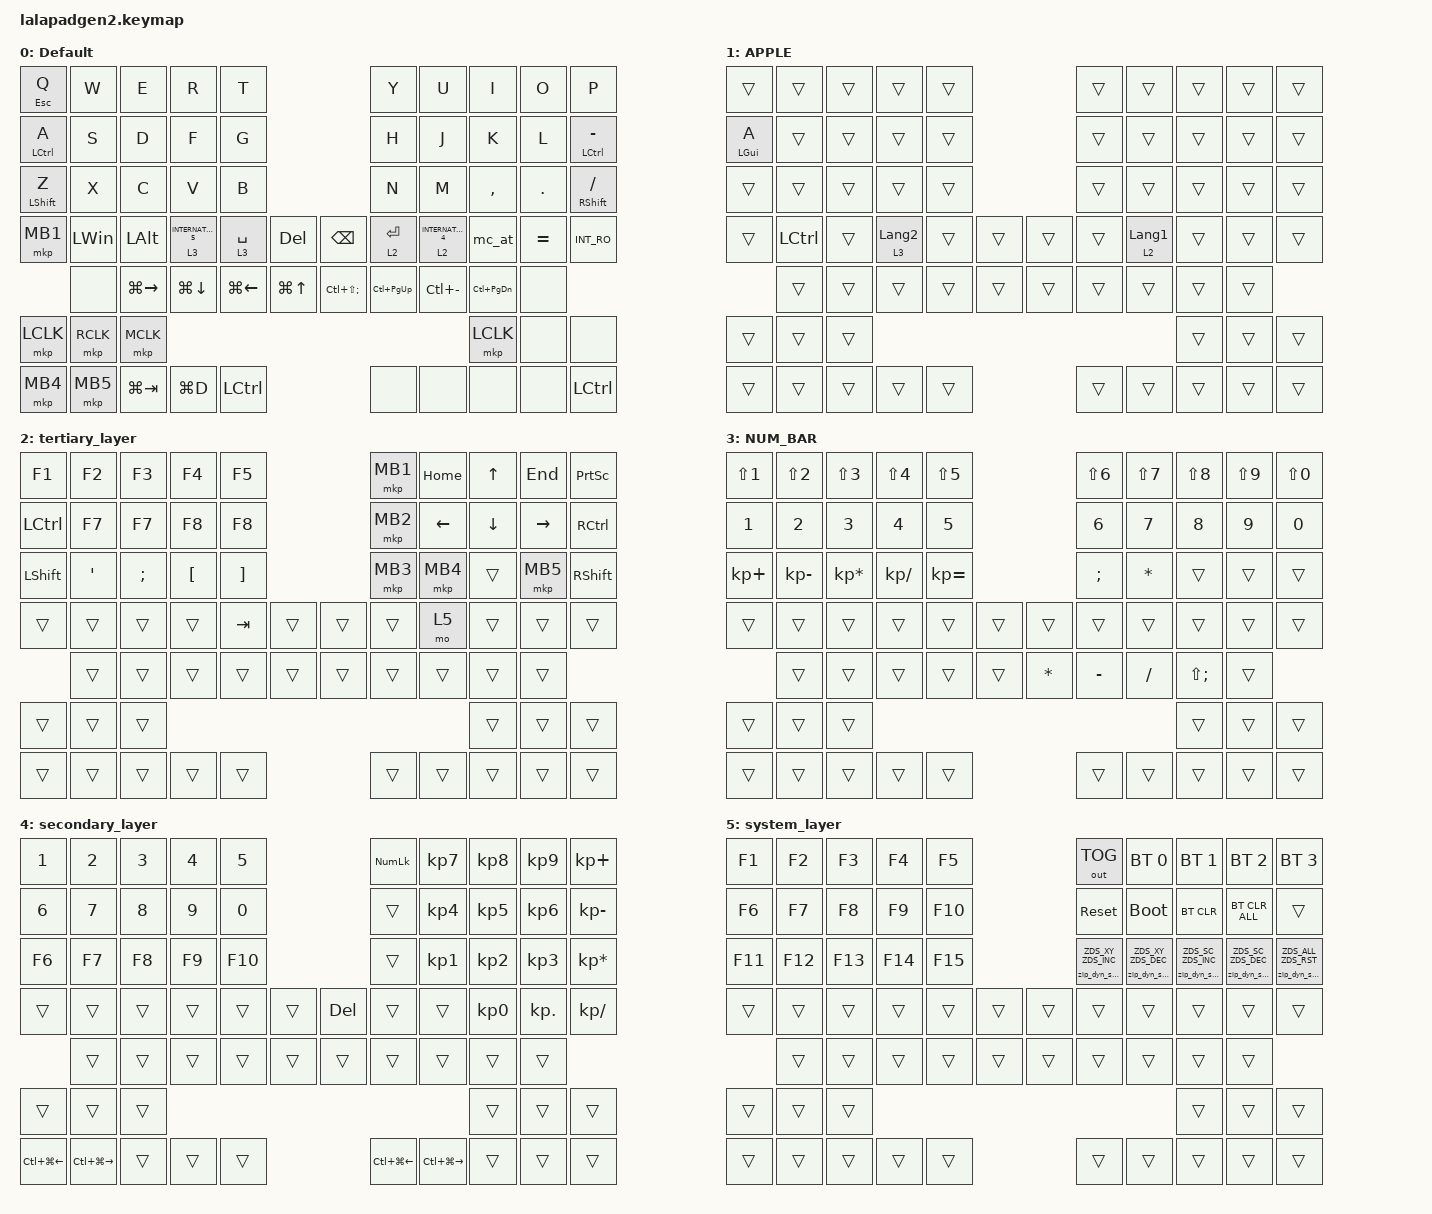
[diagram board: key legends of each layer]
#include <input/processors.dtsi>
#include <dt-bindings/zmk/zip_dynamic_scale.h>
#include <behaviors.dtsi>
#include <dt-bindings/zmk/bt.h>
#include <dt-bindings/zmk/keys.h>
#include <dt-bindings/zmk/outputs.h>
#include <dt-bindings/zmk/pointing.h>

#define DEFAULT_LAYER   0
#define SECONDARY_LAYER 1
#define TERTIARY_LAYER  2
#define SYSTEM_LAYER    3

&mt {
    quick-tap-ms = <220>;
    tapping-term-ms = <250>;
    require-prior-idle-ms = <50>;
};

&lt {
    quick-tap-ms = <200>;
    flavor = "hold-preferred";
    tapping-term-ms = <220>;
    require-prior-idle-ms = <50>;
};

/ {
    behaviors {
        zip_dyn_scale: zip_dyn_scale {
            compatible = "zmk,behavior-zip-dynamic-scale";
            #binding-cells = <2>;
        };

        zip_dyn_scale_set: zip_dyn_scale_set {
            compatible = "zmk,behavior-zip-dynamic-scale-set";
            #binding-cells = <2>;
        };

        mt2: mod_tap2 {
            compatible = "zmk,behavior-hold-tap";
            #binding-cells = <2>;
            flavor = "tap-preferred";
            tapping-term-ms = <200>;
            quick-tap-ms = <200>;
            require-prior-idle-ms = <125>;
            bindings = <&kp>, <&kp>;
        };

        tap_dance_layer_1and2: tap_dance_layer_1and2 {
            compatible = "zmk,behavior-tap-dance";
            label = "td_mo12";
            #binding-cells = <0>;
            bindings = <&mo 2>, <&mo 5>;
        };

        mt_long_press: mt_long_press {
            compatible = "zmk,behavior-hold-tap";
            label = "MT_LONG_PRESS";
            bindings = <&kp>, <&kp>;

            #binding-cells = <2>;
            tapping-term-ms = <300>;
            require-prior-idle-ms = <120>;
            flavor = "tap-preferred";
            retro-tap;
        };
    };

    combos {
        compatible = "zmk,combos";

        Left_Parenthesis {
            bindings = <&kp LS(NUMBER_8)>;
            key-positions = <5 6>;
        };

        Right_Parenthesis {
            bindings = <&kp LS(NUMBER_9)>;
            key-positions = <6 7>;
        };

        Left_Bracket {
            bindings = <&kp RIGHT_BRACKET>;
            key-positions = <15 16>;
        };

        Right_Bracket {
            bindings = <&kp BACKSLASH>;
            key-positions = <16 17>;
        };

        Left_Brace {
            bindings = <&kp RIGHT_BRACE>;
            key-positions = <25 26>;
        };

        Right_Brace {
            bindings = <&kp LS(BACKSLASH)>;
            key-positions = <26 27>;
        };

        copy {
            bindings = <&kp LC(C)>;
            key-positions = <12 11>;
        };

        cut {
            bindings = <&kp LC(X)>;
            key-positions = <23 22>;
        };

        paste {
            bindings = <&kp LC(V)>;
            key-positions = <13 12>;
        };

        undo {
            bindings = <&kp LC(Z)>;
            key-positions = <21 22>;
        };

        underscore {
            bindings = <&kp LS(INTERNATIONAL_1)>;
            key-positions = <29 28>;
        };

        semicolon {
            bindings = <&kp SEMI>;
            key-positions = <17 18>;
        };

        colon {
            bindings = <&kp LEFT_BRACKET>;
            key-positions = <18 19>;
        };
    };

    macros {
        mc_at: mc_at {
            compatible = "zmk,behavior-macro";
            #binding-cells = <0>;
            bindings = <&kp INT_MUHENKAN &kp LEFT_BRACKET>, <&macro_press>;

            label = "mc_at";
        };
    };

    keymap {
        compatible = "zmk,keymap";

        DEFAULT_LAYER {
            display-name = "Default";
            bindings = <
&mt ESCAPE Q                 &kp W      &kp E          &kp R                  &kp T                                            &kp Y            &kp U                  &kp I              &kp O       &kp P
&mt_long_press LCTRL A       &kp S      &kp D          &kp F                  &kp G                                            &kp H            &kp J                  &kp K              &kp L       &mt_long_press LCTRL MINUS
&mt_long_press LEFT_SHIFT Z  &kp X      &kp C          &kp V                  &kp B                                            &kp N            &kp M                  &kp COMMA          &kp PERIOD  &mt RIGHT_SHIFT SLASH
&mkp MB1                     &kp LWIN   &kp LEFT_ALT   &lt 3 INTERNATIONAL_5  &lt 3 SPACE   &kp DEL     &kp BACKSPACE          &lt 2 ENTER      &lt 2 INTERNATIONAL_4  &mc_at             &kp EQUAL   &kp INT_RO
                             &none      &kp LG(RIGHT)  &kp LG(DOWN)           &kp LG(LEFT)  &kp LG(UP)  &kp LC(LS(SEMICOLON))  &kp LC(PAGE_UP)  &kp LC(MINUS)          &kp LC(PAGE_DOWN)  &none
&mkp LCLK                    &mkp RCLK  &mkp MCLK                                                                                                                      &mkp LCLK          &none       &none
&mkp MB4                     &mkp MB5   &kp LG(TAB)    &kp LG(D)              &kp LCTRL                                        &none            &none                  &none              &none       &kp LCTRL
            >;
        };

        APPLE {
            bindings = <
&trans                     &trans     &trans  &trans            &trans                  &trans  &trans            &trans  &trans  &trans
&mt_long_press LEFT_GUI A  &trans     &trans  &trans            &trans                  &trans  &trans            &trans  &trans  &trans
&trans                     &trans     &trans  &trans            &trans                  &trans  &trans            &trans  &trans  &trans
&trans                     &kp LCTRL  &trans  &lt 3 LANGUAGE_2  &trans  &trans  &trans  &trans  &lt 2 LANGUAGE_1  &trans  &trans  &trans
                           &trans     &trans  &trans            &trans  &trans  &trans  &trans  &trans            &trans  &trans
&trans                     &trans     &trans                                                                      &trans  &trans  &trans
&trans                     &trans     &trans  &trans            &trans                  &trans  &trans            &trans  &trans  &trans
            >;
        };

        ARROW_LAYER {
            display-name = "tertiary_layer";
            bindings = <
&kp F1          &kp F2   &kp F3    &kp F4            &kp F5                             &mkp MB1  &kp HOME  &kp UP_ARROW    &kp END    &kp PRINTSCREEN
&kp LCTRL       &kp F7   &kp F7    &kp F8            &kp F8                             &mkp MB2  &kp LEFT  &kp DOWN_ARROW  &kp RIGHT  &kp RCTRL
&kp LEFT_SHIFT  &kp SQT  &kp SEMI  &kp LEFT_BRACKET  &kp RIGHT_BRACKET                  &mkp MB3  &mkp MB4  &trans          &mkp MB5   &kp RIGHT_SHIFT
&trans          &trans   &trans    &trans            &kp TAB            &trans  &trans  &trans    &mo 5     &trans          &trans     &trans
                &trans   &trans    &trans            &trans             &trans  &trans  &trans    &trans    &trans          &trans
&trans          &trans   &trans                                                                             &trans          &trans     &trans
&trans          &trans   &trans    &trans            &trans                             &trans    &trans    &trans          &trans     &trans
            >;
        };

        NUM_BAR {
            bindings = <
&kp LS(N1)   &kp LS(N2)       &kp LS(N3)       &kp LS(N4)     &kp LS(N5)                       &kp LS(N6)     &kp LS(N7)  &kp LS(N8)    &kp LS(N9)  &kp LS(N0)
&kp N1       &kp N2           &kp N3           &kp N4         &kp N5                           &kp N6         &kp N7      &kp N8        &kp N9      &kp N0
&kp KP_PLUS  &kp KP_SUBTRACT  &kp KP_ASTERISK  &kp KP_DIVIDE  &kp KP_EQUAL                     &kp SEMICOLON  &kp ASTRK   &trans        &trans      &trans
&trans       &trans           &trans           &trans         &trans        &trans  &trans     &trans         &trans      &trans        &trans      &trans
             &trans           &trans           &trans         &trans        &trans  &kp ASTRK  &kp MINUS      &kp SLASH   &kp LS(SEMI)  &trans
&trans       &trans           &trans                                                                                      &trans        &trans      &trans
&trans       &trans           &trans           &trans         &trans                           &trans         &trans      &trans        &trans      &trans
            >;
        };

        SECONDARY_LAYER {
            display-name = "secondary_layer";
            bindings = <
&kp NUMBER_1      &kp NUMBER_2       &kp NUMBER_3  &kp NUMBER_4  &kp N5                    &kp KP_NUMLOCK    &kp KP_NUMBER_7    &kp KP_NUMBER_8  &kp KP_NUMBER_9  &kp KP_PLUS
&kp NUMBER_6      &kp N7             &kp N8        &kp N9        &kp N0                    &trans            &kp KP_NUMBER_4    &kp KP_NUMBER_5  &kp KP_NUMBER_6  &kp KP_MINUS
&kp F6            &kp F7             &kp F8        &kp F9        &kp F10                   &trans            &kp KP_NUMBER_1    &kp KP_NUMBER_2  &kp KP_NUMBER_3  &kp KP_ASTERISK
&trans            &trans             &trans        &trans        &trans   &trans  &kp DEL  &trans            &trans             &kp KP_NUMBER_0  &kp KP_DOT       &kp KP_DIVIDE
                  &trans             &trans        &trans        &trans   &trans  &trans   &trans            &trans             &trans           &trans
&trans            &trans             &trans                                                                                     &trans           &trans           &trans
&kp LC(LG(LEFT))  &kp LC(LG(RIGHT))  &trans        &trans        &trans                    &kp LC(LG(LEFT))  &kp LC(LG(RIGHT))  &trans           &trans           &trans
            >;
        };

        SYSTEM_LAYER {
            display-name = "system_layer";
            bindings = <
&kp F1   &kp F2   &kp F3   &kp F4   &kp F5                   &out OUT_TOG                   &bt BT_SEL 0                   &bt BT_SEL 1                   &bt BT_SEL 2                   &bt BT_SEL 3
&kp F6   &kp F7   &kp F8   &kp F9   &kp F10                  &sys_reset                     &bootloader                    &bt BT_CLR                     &bt BT_CLR_ALL                 &trans
&kp F11  &kp F12  &kp F13  &kp F14  &kp F15                  &zip_dyn_scale ZDS_XY ZDS_INC  &zip_dyn_scale ZDS_XY ZDS_DEC  &zip_dyn_scale ZDS_SC ZDS_INC  &zip_dyn_scale ZDS_SC ZDS_DEC  &zip_dyn_scale ZDS_ALL ZDS_RST
&trans   &trans   &trans   &trans   &trans   &trans  &trans  &trans                         &trans                         &trans                         &trans                         &trans
         &trans   &trans   &trans   &trans   &trans  &trans  &trans                         &trans                         &trans                         &trans
&trans   &trans   &trans                                                                                                   &trans                         &trans                         &trans
&trans   &trans   &trans   &trans   &trans                   &trans                         &trans                         &trans                         &trans                         &trans
            >;
        };
    };

    conditional_layers {
        compatible = "zmk,conditional-layers";

        Cond_Syslayer {
            if-layers = <2 5>;
            then-layer = <5>;
        };
    };
};
